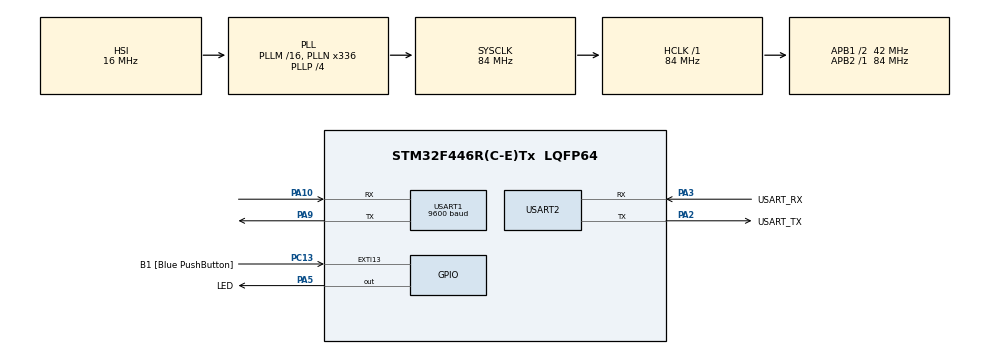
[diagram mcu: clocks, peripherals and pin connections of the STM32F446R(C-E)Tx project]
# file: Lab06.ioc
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Mcu.Family=STM32F4
Mcu.Name=STM32F446R(C-E)Tx
Mcu.Package=LQFP64
NVIC.PriorityGroup=NVIC_PRIORITYGROUP_0
NVIC.USART1_IRQn=true\:0\:0\:false\:false\:true\:true\:true\:true
PA10.Mode=Asynchronous
PA10.Signal=USART1_RX
PA13.GPIO_Label=TMS
PA13.Mode=Serial_Wire
PA13.Signal=SYS_JTMS-SWDIO
PA14.GPIO_Label=TCK
PA14.Mode=Serial_Wire
PA14.Signal=SYS_JTCK-SWCLK
PA2.GPIO_Label=USART_TX
PA2.Mode=Asynchronous
PA2.Signal=USART2_TX
PA3.GPIO_Label=USART_RX
PA3.Mode=Asynchronous
PA3.Signal=USART2_RX
PA5.GPIO_Label=LED
PA5.Signal=GPIO_Output
PA9.Mode=Asynchronous
PA9.Signal=USART1_TX
PB3.GPIO_Label=SWO
PB3.Signal=SYS_JTDO-SWO
PC13.GPIO_Label=B1 [Blue PushButton]
PC13.GPIO_ModeDefaultEXTI=GPIO_MODE_IT_FALLING
PC13.Signal=GPXTI13
PH0-OSC_IN.Mode=HSE-External-Oscillator
PH0-OSC_IN.Signal=RCC_OSC_IN
PH1-OSC_OUT.Mode=HSE-External-Oscillator
PH1-OSC_OUT.Signal=RCC_OSC_OUT
ProjectManager.HeapSize=0x200
ProjectManager.StackSize=0x400
ProjectManager.TargetToolchain=STM32CubeIDE
RCC.48MHZClocksFreq_Value=84000000
RCC.AHBFreq_Value=84000000
RCC.APB1CLKDivider=RCC_HCLK_DIV2
RCC.APB1Freq_Value=42000000
RCC.APB1TimFreq_Value=84000000
RCC.APB2Freq_Value=84000000
RCC.APB2TimFreq_Value=84000000
RCC.CortexFreq_Value=84000000
RCC.FLatency-AdvancedSettings=FLASH_LATENCY_2
RCC.HCLKFreq_Value=84000000
RCC.HSE_VALUE=8000000
RCC.HSI_VALUE=16000000
RCC.PLLN=336
RCC.PLLP=RCC_PLLP_DIV4
RCC.SYSCLKFreq_VALUE=84000000
RCC.SYSCLKSource=RCC_SYSCLKSOURCE_PLLCLK
RCC.USBFreq_Value=168000000
RCC.VCOOutputFreq_Value=336000000
USART1.BaudRate=9600
USART1.VirtualMode=VM_ASYNC
USART2.VirtualMode=VM_ASYNC
board=NUCLEO-F446RE

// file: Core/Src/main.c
/* USER CODE BEGIN Header */
/**
  ******************************************************************************
  * @file           : main.c
  * @brief          : Main program body
  ******************************************************************************
  * @attention
  *
  * Copyright (c) 2024 STMicroelectronics.
  * All rights reserved.
  *
  * This software is licensed under terms that can be found in the LICENSE file
  * in the root directory of this software component.
  * If no LICENSE file comes with this software, it is provided AS-IS.
  *
  ******************************************************************************
  */
/* USER CODE END Header */
#include "main.h"

UART_HandleTypeDef huart1;
UART_HandleTypeDef huart2;

/* USER CODE BEGIN PV */
uint8_t buffer[10];
uint8_t temp[2];
int indx = 0;
uint8_t Boton1[] = "ARRIBA\r\n";
uint8_t Boton2[] = "ABAJO\r\n";
uint8_t Boton3[] = "DERECHA\r\n";
uint8_t Boton4[] = "IZQUIERDA\r\n";
uint8_t Boton5[] = "PODER\r\n";
uint8_t Boton6[] = "ARMA\r\n";
/* USER CODE END PV */

void SystemClock_Config(void);
static void MX_GPIO_Init(void);
static void MX_USART2_UART_Init(void);
static void MX_USART1_UART_Init(void);

int main(void)
{

  /* MCU Configuration--------------------------------------------------------*/

  /* Reset of all peripherals, Initializes the Flash interface and the Systick. */
  HAL_Init();

  /* Configure the system clock */
  SystemClock_Config();

  /* Initialize all configured peripherals */
  MX_GPIO_Init();
  MX_USART2_UART_Init();
  MX_USART1_UART_Init();
  /* USER CODE BEGIN 2 */
  //uint8_t Test[] = "Hola Mundo!\r\n";
  // Funcion bloqueante
  //HAL_UART_Transmit(&huart2, Test, sizeof(Test), 100);
  HAL_UART_Receive_IT(&huart1, buffer, 1);
  /* USER CODE END 2 */

  /* Infinite loop */
  /* USER CODE BEGIN WHILE */
  while (1)
  {
	  HAL_GPIO_TogglePin(LED_GPIO_Port, LED_Pin);
	  HAL_Delay(100);
  //HAL_UART_Receive(&huart2, buffer, sizeof(Test), 1000);
  /*if(buffer!='\0'){
	  HAL_UART_Transmit(&huart2, buffer, sizeof(Test), 10);
  }*/
    /* USER CODE END WHILE */

  }
}

void SystemClock_Config(void)
{
  RCC_OscInitTypeDef RCC_OscInitStruct = {0};
  RCC_ClkInitTypeDef RCC_ClkInitStruct = {0};

  /** Configure the main internal regulator output voltage
  */
  __HAL_RCC_PWR_CLK_ENABLE();
  __HAL_PWR_VOLTAGESCALING_CONFIG(PWR_REGULATOR_VOLTAGE_SCALE3);

  /** Initializes the RCC Oscillators according to the specified parameters
  * in the RCC_OscInitTypeDef structure.
  */
  RCC_OscInitStruct.OscillatorType = RCC_OSCILLATORTYPE_HSI;
  RCC_OscInitStruct.HSIState = RCC_HSI_ON;
  RCC_OscInitStruct.HSICalibrationValue = RCC_HSICALIBRATION_DEFAULT;
  RCC_OscInitStruct.PLL.PLLState = RCC_PLL_ON;
  RCC_OscInitStruct.PLL.PLLSource = RCC_PLLSOURCE_HSI;
  RCC_OscInitStruct.PLL.PLLM = 16;
  RCC_OscInitStruct.PLL.PLLN = 336;
  RCC_OscInitStruct.PLL.PLLP = RCC_PLLP_DIV4;
  RCC_OscInitStruct.PLL.PLLQ = 2;
  RCC_OscInitStruct.PLL.PLLR = 2;
  if (HAL_RCC_OscConfig(&RCC_OscInitStruct) != HAL_OK)
  {
    Error_Handler();
  }

  /** Initializes the CPU, AHB and APB buses clocks
  */
  RCC_ClkInitStruct.ClockType = RCC_CLOCKTYPE_HCLK|RCC_CLOCKTYPE_SYSCLK
                              |RCC_CLOCKTYPE_PCLK1|RCC_CLOCKTYPE_PCLK2;
  RCC_ClkInitStruct.SYSCLKSource = RCC_SYSCLKSOURCE_PLLCLK;
  RCC_ClkInitStruct.AHBCLKDivider = RCC_SYSCLK_DIV1;
  RCC_ClkInitStruct.APB1CLKDivider = RCC_HCLK_DIV2;
  RCC_ClkInitStruct.APB2CLKDivider = RCC_HCLK_DIV1;

  if (HAL_RCC_ClockConfig(&RCC_ClkInitStruct, FLASH_LATENCY_2) != HAL_OK)
  {
    Error_Handler();
  }
}

static void MX_USART1_UART_Init(void)
{

  huart1.Instance = USART1;
  huart1.Init.BaudRate = 9600;
  huart1.Init.WordLength = UART_WORDLENGTH_8B;
  huart1.Init.StopBits = UART_STOPBITS_1;
  huart1.Init.Parity = UART_PARITY_NONE;
  huart1.Init.Mode = UART_MODE_TX_RX;
  huart1.Init.HwFlowCtl = UART_HWCONTROL_NONE;
  huart1.Init.OverSampling = UART_OVERSAMPLING_16;
  if (HAL_UART_Init(&huart1) != HAL_OK)
  {
    Error_Handler();
  }

}

static void MX_USART2_UART_Init(void)
{

  huart2.Instance = USART2;
  huart2.Init.BaudRate = 115200;
  huart2.Init.WordLength = UART_WORDLENGTH_8B;
  huart2.Init.StopBits = UART_STOPBITS_1;
  huart2.Init.Parity = UART_PARITY_NONE;
  huart2.Init.Mode = UART_MODE_TX_RX;
  huart2.Init.HwFlowCtl = UART_HWCONTROL_NONE;
  huart2.Init.OverSampling = UART_OVERSAMPLING_16;
  if (HAL_UART_Init(&huart2) != HAL_OK)
  {
    Error_Handler();
  }

}

static void MX_GPIO_Init(void)
{
  GPIO_InitTypeDef GPIO_InitStruct = {0};

  /* GPIO Ports Clock Enable */
  __HAL_RCC_GPIOC_CLK_ENABLE();
  __HAL_RCC_GPIOH_CLK_ENABLE();
  __HAL_RCC_GPIOA_CLK_ENABLE();
  __HAL_RCC_GPIOB_CLK_ENABLE();

  /*Configure GPIO pin Output Level */
  HAL_GPIO_WritePin(LED_GPIO_Port, LED_Pin, GPIO_PIN_RESET);

  /*Configure GPIO pin : B1_Pin */
  GPIO_InitStruct.Pin = B1_Pin;
  GPIO_InitStruct.Mode = GPIO_MODE_IT_FALLING;
  GPIO_InitStruct.Pull = GPIO_NOPULL;
  HAL_GPIO_Init(B1_GPIO_Port, &GPIO_InitStruct);

  /*Configure GPIO pin : LED_Pin */
  GPIO_InitStruct.Pin = LED_Pin;
  GPIO_InitStruct.Mode = GPIO_MODE_OUTPUT_PP;
  GPIO_InitStruct.Pull = GPIO_NOPULL;
  GPIO_InitStruct.Speed = GPIO_SPEED_FREQ_LOW;
  HAL_GPIO_Init(LED_GPIO_Port, &GPIO_InitStruct);

}

/* USER CODE BEGIN 4 */
void HAL_UART_RxCpltCallback(UART_HandleTypeDef *huart)
{
	//if (huart->Instance == USART1) {
	        // Procesa el dato recibido por USART1
	        if(buffer[0] == '1'){
				HAL_UART_Transmit(&huart2, Boton1, sizeof(Boton1), 1000);
			}
			if(buffer[0] == '2'){
				HAL_UART_Transmit(&huart2, Boton2, sizeof(Boton2), 1000);
			}
			if(buffer[0] == '3'){
				HAL_UART_Transmit(&huart2, Boton3, sizeof(Boton3), 1000);
			}
			if(buffer[0] == '4'){
				HAL_UART_Transmit(&huart2, Boton4, sizeof(Boton4), 1000);
			}
			if(buffer[0] == '5'){
				HAL_UART_Transmit(&huart2, Boton5, sizeof(Boton5), 1000);
			}
			if(buffer[0] == '6'){
				HAL_UART_Transmit(&huart2, Boton6, sizeof(Boton6), 1000);
			}

	        // Vuelve a activar la recepción por interrupción
	        HAL_UART_Receive_IT(&huart1, buffer, 1);
	    //}

	//HAL_UART_Receive_IT(&huart1, buffer, 1);
}
/* USER CODE END 4 */

void Error_Handler(void)
{
  __disable_irq();
  while (1)
  {
  }
}
